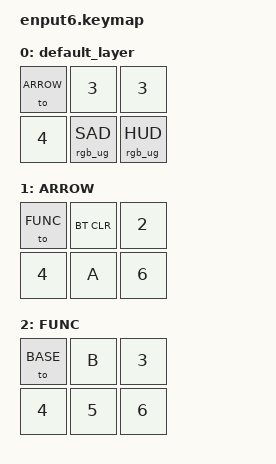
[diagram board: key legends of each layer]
/*
 * Copyright (c) 2022 The ZMK Contributors
 *
 * SPDX-License-Identifier: MIT
 */

#include <behaviors.dtsi>
#include <dt-bindings/zmk/keys.h>
#include <dt-bindings/zmk/bt.h>
#include <dt-bindings/zmk/outputs.h>
#include <dt-bindings/zmk/rgb.h>

#define BASE        0
#define ARROW       1
#define FUNC        2

/ {
  chosen {
      zmk,kscan = &kscan0;
      zmk,matrix-transform = &default_transform;
  };

  keymap {
    compatible = "zmk,keymap";

    default_layer {
      bindings = <
                    &to ARROW   &kp N3    &kp N3
                    &kp N4   &rgb_ug RGB_SAD     &rgb_ug RGB_HUD
      >;
    };

    arrow_layer {
        display-name = "ARROW";
      bindings = <
                    &to FUNC   &bt BT_CLR    &kp N2
                    &kp N4   &kp A     &kp N6
      >;
    };

    function_layer {
        display-name = "FUNC";
      bindings = <
                    &to BASE   &kp B    &kp N3
                    &kp N4   &kp N5     &kp N6
      >;
    };

  };
};
